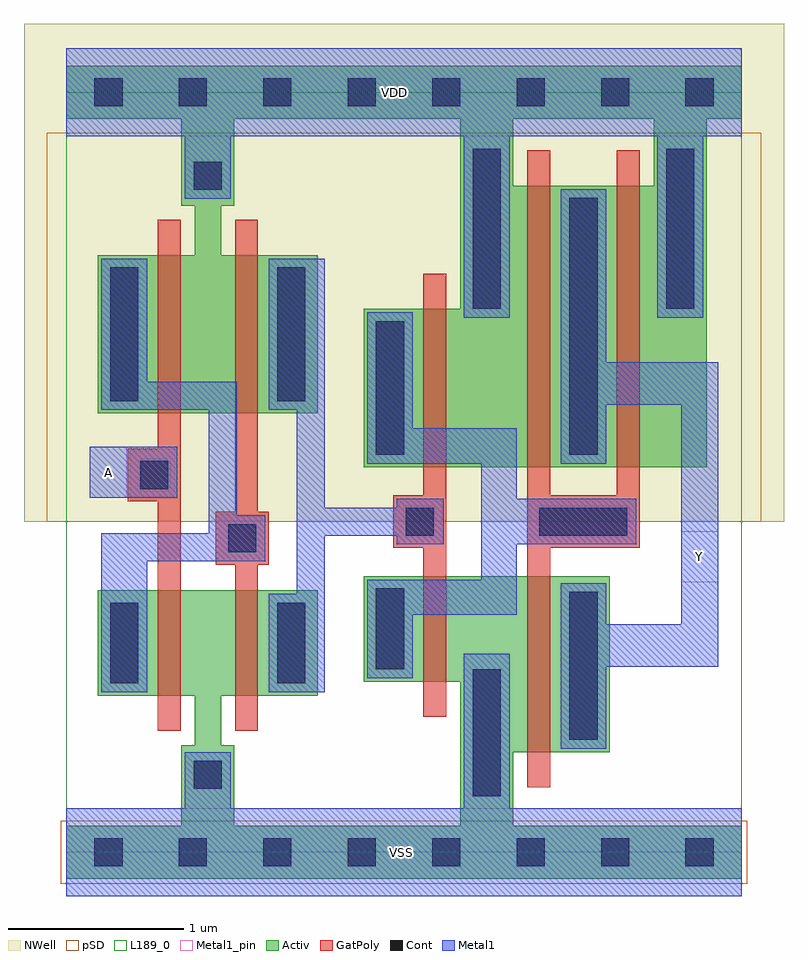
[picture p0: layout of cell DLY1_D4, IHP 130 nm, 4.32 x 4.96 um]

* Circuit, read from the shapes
.subckt DLY1_D4 A VDD VSS Y
XM1 VSS A n1 VSS sg13_lv_nmos w=0.6u l=0.13u
XM2 n2 n1 VSS VSS sg13_lv_nmos w=0.6u l=0.13u
XM3 VSS n2 n3 VSS sg13_lv_nmos w=0.6u l=0.13u
XM4 Y n3 VSS VSS sg13_lv_nmos w=1u l=0.13u
XM5 VDD A n1 VDD sg13_lv_pmos w=0.9u l=0.13u
XM6 n2 n1 VDD VDD sg13_lv_pmos w=0.9u l=0.13u
XM7 VDD n2 n3 VDD sg13_lv_pmos w=0.9u l=0.13u
XM8 Y n3 VDD VDD sg13_lv_pmos w=1.6u l=0.13u m=2
.ends

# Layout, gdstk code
import gdstk
lib = gdstk.Library(unit=1e-6, precision=1e-09)
def R(c, l, rs):  # rectangles x0, y0, x1, y1
    for r in rs: c.add(gdstk.rectangle(r[:2], r[2:], *l))
def A(c, l, x, y, w, h, nx, ny, dx, dy):  # array of equal rectangles
    R(c, l, [(x+i*dx, y+j*dy, x+i*dx+w, y+j*dy+h) for i in range(nx) for j in range(ny)])
def P(c, l, *ps):  # polygons
    for p in ps: c.add(gdstk.Polygon(p, *l))
Activ = (1, 0)
GatPoly = (5, 0)
Cont = (6, 0)
Metal1 = (8, 0)
Metal1_pin = (8, 2)
pSD = (14, 0)
NWell = (31, 0)
L189_0 = (189, 0)

dly1_d4 = lib.new_cell('DLY1_D4')
P(dly1_d4, Activ, [(0,-0.15),(0,0.15),(0.655,0.15),(0.655,0.61),(0.73,0.61),(0.73,0.89),(0.18,0.89),(0.18,1.49),(1.43,1.49),(1.43,0.89),(0.88,0.89),(0.88,0.61),(0.955,0.61),(0.955,0.15),(2.24,0.15),(2.24,0.97),(1.69,0.97),(1.69,1.57),(3.09,1.57),(3.09,0.57),(2.54,0.57),(2.54,0.15),(3.84,0.15),(3.84,-0.15)],
  [(1.69,2.19),(1.69,3.09),(2.24,3.09),(2.24,4.17),(2.54,4.17),(2.54,3.79),(3.34,3.79),(3.34,4.17),(0.955,4.17),(0.955,3.675),(0.88,3.675),(0.88,3.395),(1.43,3.395),(1.43,2.495),(0.18,2.495),(0.18,3.395),(0.73,3.395),(0.73,3.675),(0.655,3.675),(0.655,4.17),(0,4.17),(0,4.47),(3.84,4.47),(3.84,4.17),(3.64,4.17),(3.64,2.19)])
P(dly1_d4, GatPoly, [(2.03,0.77),(2.03,1.73),(1.86,1.73),(1.86,2.03),(2.03,2.03),(2.03,3.29),(2.16,3.29),(2.16,0.77)],
  [(0.52,0.69),(0.52,1.995),(0.35,1.995),(0.35,2.295),(0.52,2.295),(0.52,3.595),(0.65,3.595),(0.65,0.69)],
  [(0.96,0.69),(0.96,1.635),(0.85,1.635),(0.85,1.935),(0.96,1.935),(0.96,3.595),(1.09,3.595),(1.09,1.935),(1.15,1.935),(1.15,1.635),(1.09,1.635),(1.09,0.69)],
  [(2.62,0.37),(2.62,3.99),(2.75,3.99),(2.75,2.03),(3.13,2.03),(3.13,3.99),(3.26,3.99),(3.26,1.73),(2.75,1.73),(2.75,0.37)])
A(dly1_d4, Cont, 0.16, -0.08, 0.16, 0.16, 8, 2, 0.48, 4.32)
R(dly1_d4, Cont, [(2.31,0.32,2.47,1.04), (0.725,0.36,0.885,0.52), (2.86,0.64,3.02,1.48), (0.25,0.96,0.41,1.42), (1.2,0.96,1.36,1.42), (1.76,1.04,1.92,1.5), (0.92,1.705,1.08,1.865), (1.93,1.8,2.09,1.96), (2.69,1.8,3.19,1.96), (0.42,2.065,0.58,2.225), (1.76,2.26,1.92,3.02), (2.86,2.26,3.02,3.72), (0.25,2.565,0.41,3.325), (1.2,2.565,1.36,3.325), (2.31,3.09,2.47,4), (3.41,3.09,3.57,4), (0.725,3.765,0.885,3.925)])
R(dly1_d4, Metal1, [(0.135,2.015,0.63,2.305)])
P(dly1_d4, Metal1, [(0,-0.25),(0,0.25),(0.675,0.25),(0.675,0.57),(0.935,0.57),(0.935,0.25),(2.26,0.25),(2.26,1.13),(2.52,1.13),(2.52,0.25),(3.84,0.25),(3.84,-0.25)],
  [(1.71,0.99),(1.71,1.55),(2.36,1.55),(2.36,2.21),(1.71,2.21),(1.71,3.07),(1.97,3.07),(1.97,2.41),(2.56,2.41),(2.56,2.01),(3.24,2.01),(3.24,1.75),(2.56,1.75),(2.56,1.35),(1.97,1.35),(1.97,0.99)],
  [(0.2,0.91),(0.2,1.815),(0.81,1.815),(0.81,2.515),(0.2,2.515),(0.2,3.375),(0.46,3.375),(0.46,2.675),(0.97,2.675),(0.97,1.915),(1.13,1.915),(1.13,1.655),(0.46,1.655),(0.46,0.91)],
  [(1.15,0.91),(1.15,1.47),(1.31,1.47),(1.31,2.515),(1.15,2.515),(1.15,3.375),(1.47,3.375),(1.47,1.96),(1.88,1.96),(1.88,2.01),(2.145,2.01),(2.145,1.75),(1.88,1.75),(1.88,1.8),(1.47,1.8),(1.47,0.91)],
  [(2.81,0.59),(2.81,1.53),(3.07,1.53),(3.07,1.295),(3.495,1.295),(3.495,2.545),(3.07,2.545),(3.07,2.21),(2.81,2.21),(2.81,3.77),(3.07,3.77),(3.07,2.785),(3.705,2.785),(3.705,1.055),(3.07,1.055),(3.07,0.59)],
  [(2.26,3.04),(2.26,4.07),(0.935,4.07),(0.935,3.715),(0.675,3.715),(0.675,4.07),(0,4.07),(0,4.57),(3.84,4.57),(3.84,4.07),(3.62,4.07),(3.62,3.04),(3.36,3.04),(3.36,4.07),(2.52,4.07),(2.52,3.04)])
R(dly1_d4, Metal1_pin, [(0,-0.25,3.84,0.25), (3.495,1.535,3.705,1.825), (0.135,2.015,0.345,2.305), (0,4.07,3.84,4.57)])
R(dly1_d4, pSD, [(-0.03,-0.18,3.87,0.18), (-0.11,1.88,3.95,4.09)])
R(dly1_d4, NWell, [(-0.24,1.88,4.08,4.71)])
R(dly1_d4, L189_0, [(0,0,3.84,4.32)])
dly1_d4.add(gdstk.Label('A', (0.24,2.16), layer=8, texttype=25))
dly1_d4.add(gdstk.Label('Y', (3.6,1.68), layer=8, texttype=25))
dly1_d4.add(gdstk.Label('VDD', (1.865,4.32), layer=8, texttype=25))
dly1_d4.add(gdstk.Label('VSS', (1.905,0), layer=8, texttype=25))

lib.write_gds('DLY1_D4.gds')
